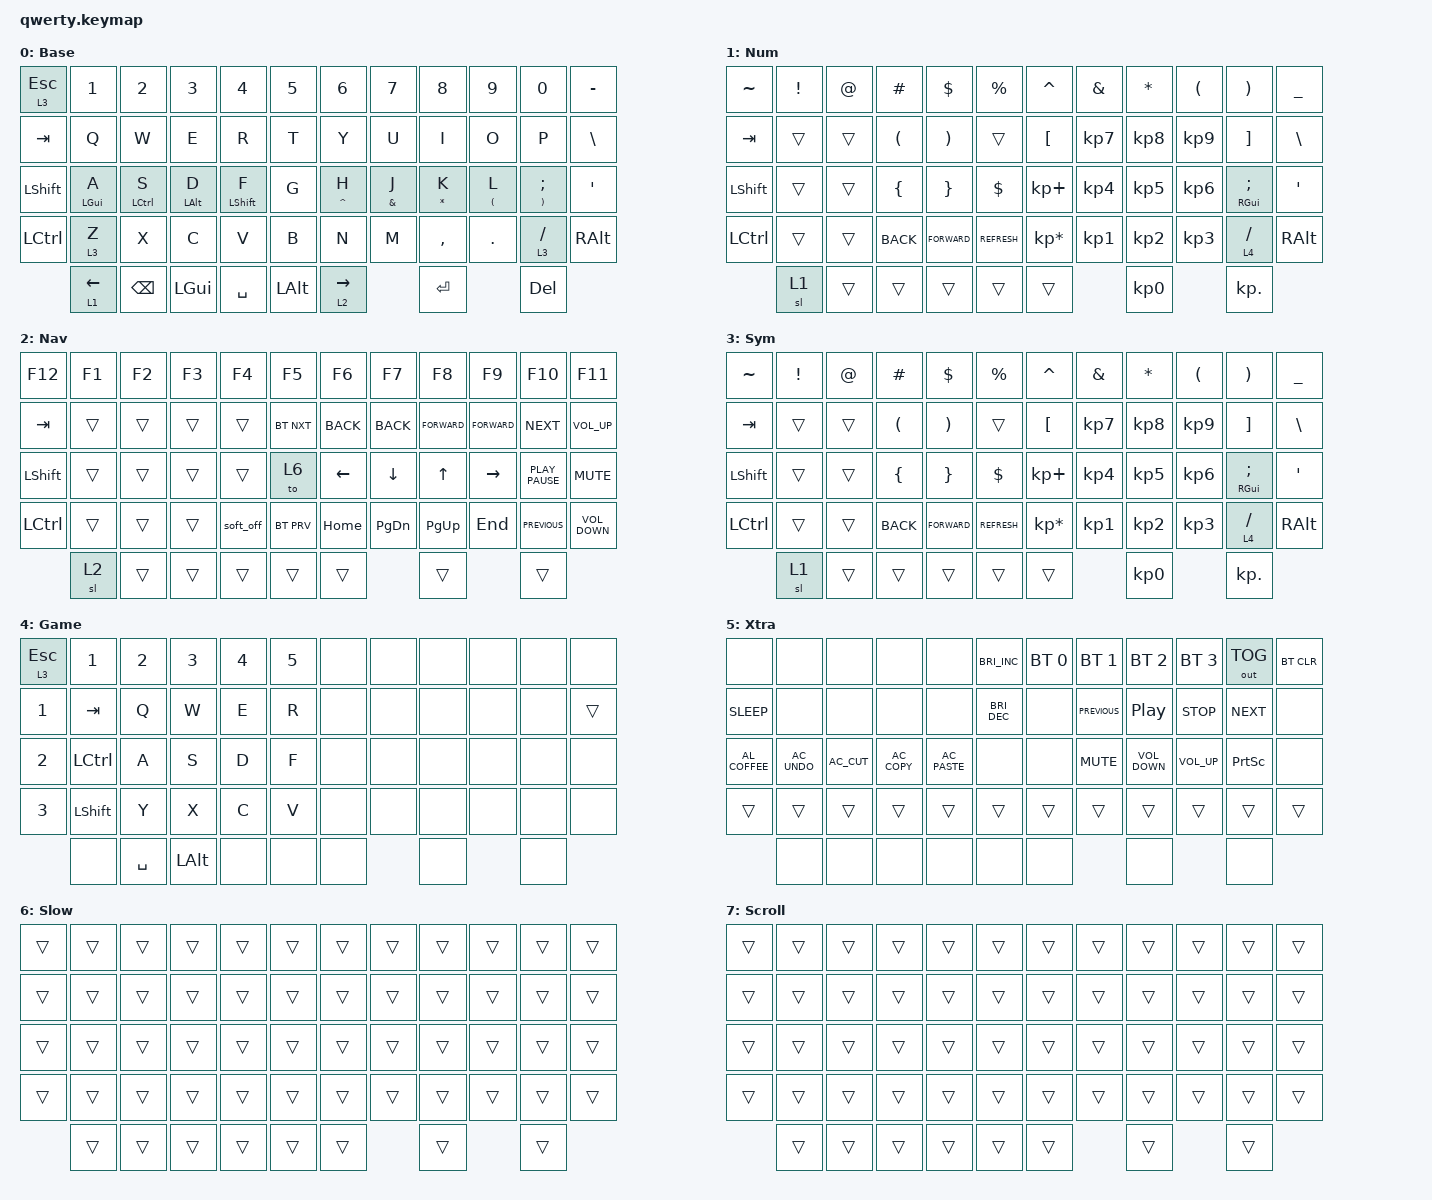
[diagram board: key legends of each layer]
/* upstream bindings and behaviors */
#include <behaviors.dtsi>
#include <dt-bindings/zmk/bt.h>
#include <dt-bindings/zmk/keys.h>
#include <dt-bindings/zmk/mouse.h>
#include <dt-bindings/zmk/outputs.h>
#include <behaviors/mouse_keys.dtsi>
#include <dt-bindings/zmk/ext_power.h>


/* local overlays */
#include "behaviors.dtsi"
#include "combos.dtsi"

/ {
/* --- KEYMAP CONFIG --- */
// ╭──────┬──────┬──────┬──────┬──────┬──────╮  ╭──────┬──────┬──────┬──────┬──────┬──────╮
//    00     01     02     03     04     05        06     07     08     09     10     11
// ├──────┼──────┼──────┼──────┼──────┼──────┤  ├──────┼──────┼──────┼──────┼──────┼──────┤
//    12     13     14     15     16     17        18     19     20     21     22     23
// ├──────┼──────┼──────┼──────┼──────┼──────┤  ├──────┼──────┼──────┼──────┼──────┼──────┤
//    24     25     26     27     28     29        30     31     32     33     34     35
// ├──────┼──────┼──────┼──────┼──────┼──────┤  ├──────┼──────┼──────┼──────┼──────┼──────┤
//    36     37     38     39     40     41        42     43     44     45     46     47
// ╰──────┴──────┴──────┼──────┼──────┼──────┤  ├──────┼──────┼──────┴──────┴──────┴──────╯
//           48     49     50     51     52        53     54     55
//        ╰──────┴──────┴──────┴──────┴──────╯  ╰──────┴──────┴──────╯
// #define BASE    0
// #define NUM     1
// #define NAV     2
// #define SYM     3
// #define GAME    4
// #define EXTRAS  5
// #define SLOW    6
// #define SCROLL  7

    keymap {
        compatible = "zmk,keymap";
        BASE {
            display-name = "Base";
            bindings = <
// ╭─────────────┬───────────────┬────────────────┬─────────────────┬─────────────────┬──────╮  ╭──────┬──────────────────┬──────────────────┬─────────────────┬────────────────────────┬─────────────╮
      &lt 3 ESC        &kp N1         &kp N2          &kp N3           &kp N4           &kp N5   &kp N6      &kp N7            &kp N8             &kp N9          &kp N0                 &kp MINUS
// ├─────────────┼───────────────┼────────────────┼─────────────────┼─────────────────┼──────┤  ├──────┼──────────────────┼──────────────────┼─────────────────┼────────────────────────┼─────────────┤
       &kp TAB         &kp Q          &kp W           &kp E            &kp R            &kp T    &kp Y       &kp U             &kp I              &kp O           &kp P                  &kp BACKSLASH
// ├─────────────┼───────────────┼────────────────┼─────────────────┼─────────────────┼──────┤  ├──────┼──────────────────┼──────────────────┼─────────────────┼────────────────────────┼─────────────┤
      &kp LSHFT     &hml LGUI A  &hml LCTRL S  &hml LALT D    &hml LSHFT F     &kp G            &hmr CARET H    &hmr AMPERSAND J   &hmr ASTERISK K     &hmr LEFT_PARENTHESIS L  &hmr RIGHT_PARENTHESIS SEMICOLON  &kp APOS
// ├─────────────┼───────────────┼────────────────┼─────────────────┼─────────────────┼──────┤  ├──────┼──────────────────┼──────────────────┼─────────────────┼────────────────────────┼─────────────┤
      &kp LCTRL       &lt 3 Z        &kp X           &kp C            &kp V            &kp B    &kp N       &kp M             &kp COMMA          &kp DOT         &lt 3 SLASH            &kp RALT
// ╰─────────────┴───────────────┴────────────────┼─────────────────┼─────────────────┼──────┤  ╭──────┼──────────────────┼──────────────────┴─────────────────┴────────────────────────┴─────────────╯
                                                             &lt 1 LEFT      &kp BACKSPACE   &kp LGUI  &kp SPACE  &kp LEFT_ALT  &lt 2 RIGHT  &kp ENTER  &kp DEL
                                                         // ╰──────────────────┴─────────┴──────╯  ╰──────────┴──────────────╯
            >;
        };

        NUM {
            display-name = "Num";
            bindings = <
// ╭───────────────┬────────────────┬────────────────┬─────────────────┬─────────────────┬──────╮  ╭──────┬──────────────────┬──────────────────┬─────────────────┬────────────────────────┬─────────────╮
    &kp TILDE  &kp EXCL  &kp AT  &kp HASH  &kp DOLLAR  &kp PERCENT  &kp CARET  &kp AMPERSAND  &kp ASTERISK  &kp LEFT_PARENTHESIS  &kp RIGHT_PARENTHESIS  &kp UNDERSCORE
// ├───────────────┼────────────────┼────────────────┼─────────────────┼─────────────────┼──────┤  ├──────┼──────────────────┼──────────────────┼─────────────────┼────────────────────────┼─────────────┤
     &kp TAB  &trans  &trans  &kp LEFT_PARENTHESIS  &kp RIGHT_PARENTHESIS  &trans  &kp LEFT_BRACKET  &kp KP_NUMBER_7  &kp KP_NUMBER_8  &kp KP_NUMBER_9  &kp RIGHT_BRACKET  &kp BACKSLASH
// ├───────────────┼────────────────┼────────────────┼─────────────────┼─────────────────┼──────┤  ├──────┼──────────────────┼──────────────────┼─────────────────┼────────────────────────┼─────────────┤
     &kp LSHFT  &trans  &trans  &kp LEFT_BRACE  &kp RIGHT_BRACE  &kp DOLLAR  &kp KP_PLUS  &kp KP_NUMBER_4  &kp KP_NUMBER_5  &kp KP_NUMBER_6  &hml RGUI SEMICOLON  &kp APOS
// ├───────────────┼────────────────┼────────────────┼─────────────────┼─────────────────┼──────┤  ├──────┼──────────────────┼──────────────────┼─────────────────┼────────────────────────┼─────────────┤
     &kp LCTRL  &trans  &trans  &kp K_BACK  &kp K_FORWARD  &kp K_REFRESH  &kp KP_MULTIPLY  &kp KP_NUMBER_1  &kp KP_NUMBER_2  &kp KP_NUMBER_3  &lt 4 SLASH  &kp RALT
// ╰───────────────┴────────────────┴────────────────┼─────────────────┼─────────────────┼──────┤  ├──────┼──────────────────┼──────────────────┴─────────────────┴────────────────────────┴─────────────╯
                                                            &sl 1  &trans  &trans  &trans  &trans  &trans  &kp KP_NUMBER_0  &kp KP_DOT
                                                         // ╰──────────────────┴─────────┴──────╯  ╰──────────┴──────────────╯
            >;
        };

        NAV {
            display-name = "Nav";
            bindings = <
// ╭───────────────┬────────────────┬────────────────┬─────────────────┬─────────────────┬──────╮  ╭──────┬──────────────────┬──────────────────┬─────────────────┬────────────────────────┬─────────────╮
&kp F12    &kp F1           &kp F2           &kp F3           &kp F4     &kp F5        &kp F6      &kp F7            &kp F8             &kp F9         &kp F10           &kp F11
// ├───────────────┼────────────────┼────────────────┼─────────────────┼─────────────────┼──────┤  ├──────┼──────────────────┼──────────────────┼─────────────────┼────────────────────────┼─────────────┤
&kp TAB    &trans           &trans           &trans           &trans     &bt BT_NXT    &kp K_BACK  &kp K_BACK  &kp K_FORWARD  &kp K_FORWARD  &kp K_NEXT        &kp K_VOLUME_UP
// ├───────────────┼────────────────┼────────────────┼─────────────────┼─────────────────┼──────┤  ├──────┼──────────────────┼──────────────────┼─────────────────┼────────────────────────┼─────────────┤
&kp LSHFT  &trans           &trans           &trans           &trans     &to 6         &kp LEFT    &kp DOWN          &kp UP_ARROW       &kp RIGHT      &kp K_PLAY_PAUSE  &kp K_MUTE
// ├───────────────┼────────────────┼────────────────┼─────────────────┼─────────────────┼──────┤  ├──────┼──────────────────┼──────────────────┼─────────────────┼────────────────────────┼─────────────┤
&kp LCTRL  &trans           &trans           &trans           &soft_off  &bt BT_PRV    &kp HOME    &kp PG_DN         &kp PG_UP          &kp END        &kp K_PREVIOUS    &kp K_VOLUME_DOWN
           &sl 2            &trans           &trans           &trans     &trans        &trans                        &trans                            &trans
            >;
        };

        SYM {
            display-name = "Sym";
            bindings = <
// ╭───────────────┬────────────────┬────────────────┬─────────────────┬─────────────────┬──────╮  ╭──────┬──────────────────┬──────────────────┬─────────────────┬────────────────────────┬─────────────╮
    &kp TILDE  &kp EXCL  &kp AT  &kp HASH  &kp DOLLAR  &kp PERCENT  &kp CARET  &kp AMPERSAND  &kp ASTERISK  &kp LEFT_PARENTHESIS  &kp RIGHT_PARENTHESIS  &kp UNDERSCORE
// ├───────────────┼────────────────┼────────────────┼─────────────────┼─────────────────┼──────┤  ├──────┼──────────────────┼──────────────────┼─────────────────┼────────────────────────┼─────────────┤
     &kp TAB  &trans  &trans  &kp LEFT_PARENTHESIS  &kp RIGHT_PARENTHESIS  &trans  &kp LEFT_BRACKET  &kp KP_NUMBER_7  &kp KP_NUMBER_8  &kp KP_NUMBER_9  &kp RIGHT_BRACKET  &kp BACKSLASH
// ├───────────────┼────────────────┼────────────────┼─────────────────┼─────────────────┼──────┤  ├──────┼──────────────────┼──────────────────┼─────────────────┼────────────────────────┼─────────────┤
     &kp LSHFT  &trans  &trans  &kp LEFT_BRACE  &kp RIGHT_BRACE  &kp DOLLAR  &kp KP_PLUS  &kp KP_NUMBER_4  &kp KP_NUMBER_5  &kp KP_NUMBER_6  &hml RGUI SEMICOLON  &kp APOS
// ├───────────────┼────────────────┼────────────────┼─────────────────┼─────────────────┼──────┤  ├──────┼──────────────────┼──────────────────┼─────────────────┼────────────────────────┼─────────────┤
     &kp LCTRL  &trans  &trans  &kp K_BACK  &kp K_FORWARD  &kp K_REFRESH  &kp KP_MULTIPLY  &kp KP_NUMBER_1  &kp KP_NUMBER_2  &kp KP_NUMBER_3  &lt 4 SLASH  &kp RALT
// ╰───────────────┴────────────────┴────────────────┼─────────────────┼─────────────────┼──────┤  ├──────┼──────────────────┼──────────────────┴─────────────────┴────────────────────────┴─────────────╯
                                                            &sl 1  &trans  &trans  &trans  &trans  &trans  &kp KP_NUMBER_0  &kp KP_DOT
                                                         // ╰──────────────────┴─────────┴──────╯  ╰──────────┴──────────────╯
            >;
        };

        GAME {
            display-name = "Game";
            bindings = <
// ╭───────────────┬────────────────┬────────────────┬─────────────────┬─────────────────┬──────╮  ╭──────┬──────────────────┬──────────────────┬─────────────────┬────────────────────────┬─────────────╮
     &lt 3 ESC &kp N1 &kp N2 &kp N3 &kp N4 &kp N5 &none &none &none &none &none &none
// ├───────────────┼────────────────┼────────────────┼─────────────────┼─────────────────┼──────┤  ├──────┼──────────────────┼──────────────────┼─────────────────┼────────────────────────┼─────────────┤
     &kp N1  &kp TAB  &kp Q  &kp W  &kp E  &kp R  &none  &none  &none  &none  &none  &trans
// ├───────────────┼────────────────┼────────────────┼─────────────────┼─────────────────┼──────┤  ├──────┼──────────────────┼──────────────────┼─────────────────┼────────────────────────┼─────────────┤
     &kp N2  &kp LCTRL  &kp A  &kp S  &kp D  &kp F  &none  &none  &none  &none  &none  &none
// ├───────────────┼────────────────┼────────────────┼─────────────────┼─────────────────┼──────┤  ├──────┼──────────────────┼──────────────────┼─────────────────┼────────────────────────┼─────────────┤
     &kp N3  &kp LSHFT  &kp Y  &kp X  &kp C  &kp V  &none  &none  &none  &none  &none  &none
// ╰───────────────┴────────────────┴────────────────┼─────────────────┼─────────────────┼──────┤  ├──────┼──────────────────┼──────────────────┴─────────────────┴────────────────────────┴─────────────╯
                                                            &none  &kp SPACE  &kp LEFT_ALT  &none  &none  &none  &none  &none
                                                         // ╰──────────────────┴─────────┴──────╯  ╰──────────┴──────────────╯
            >;
        };

        EXTRAS {
            display-name = "Xtra";
            bindings = <
// ╭───────────────┬────────────────┬────────────────┬─────────────────┬─────────────────┬──────╮  ╭──────┬──────────────────┬──────────────────┬─────────────────┬────────────────────────┬─────────────╮
    &none  &none  &none  &none  &none  &kp C_BRIGHTNESS_INC  &bt BT_SEL 0  &bt BT_SEL 1  &bt BT_SEL 2  &bt BT_SEL 3  &out OUT_TOG  &bt BT_CLR
// ├───────────────┼────────────────┼────────────────┼─────────────────┼─────────────────┼──────┤  ├──────┼──────────────────┼──────────────────┼─────────────────┼────────────────────────┼─────────────┤
    &kp C_SLEEP  &none  &none  &none  &none  &kp C_BRIGHTNESS_DEC  &none  &kp C_PREVIOUS  &kp C_PLAY_PAUSE  &kp C_STOP  &kp C_NEXT  &none
// ├───────────────┼────────────────┼────────────────┼─────────────────┼─────────────────┼──────┤  ├──────┼──────────────────┼──────────────────┼─────────────────┼────────────────────────┼─────────────┤
    &kp C_AL_COFFEE  &kp C_AC_UNDO  &kp C_AC_CUT  &kp C_AC_COPY  &kp C_AC_PASTE  &none  &none  &kp K_MUTE  &kp C_VOLUME_DOWN  &kp C_VOLUME_UP  &kp PRINTSCREEN  &none
// ├───────────────┼────────────────┼────────────────┼─────────────────┼─────────────────┼──────┤  ├──────┼──────────────────┼──────────────────┼─────────────────┼────────────────────────┼─────────────┤
    &trans  &trans  &trans  &trans  &trans  &trans  &trans  &trans  &trans  &trans  &trans  &trans
// ╰───────────────┴────────────────┴────────────────┼─────────────────┼─────────────────┼──────┤  ├──────┼──────────────────┼──────────────────┴─────────────────┴────────────────────────┴─────────────╯
                                                            &none  &none  &none  &none  &none  &none  &none  &none
                                                         // ╰──────────────────┴─────────┴──────╯  ╰──────────┴──────────────╯
            >;
        };

        SLOW {
            display-name = "Slow";
            bindings = <
// ╭───────────────┬────────────────┬────────────────┬─────────────────┬─────────────────┬──────╮  ╭──────┬──────────────────┬──────────────────┬─────────────────┬────────────────────────┬─────────────╮
    &trans  &trans  &trans  &trans  &trans  &trans  &trans  &trans  &trans  &trans  &trans  &trans
// ├───────────────┼────────────────┼────────────────┼─────────────────┼─────────────────┼──────┤  ├──────┼──────────────────┼──────────────────┼─────────────────┼────────────────────────┼─────────────┤
    &trans  &trans  &trans  &trans  &trans  &trans  &trans  &trans  &trans  &trans  &trans  &trans
// ├───────────────┼────────────────┼────────────────┼─────────────────┼─────────────────┼──────┤  ├──────┼──────────────────┼──────────────────┼─────────────────┼────────────────────────┼─────────────┤
    &trans  &trans  &trans  &trans  &trans  &trans  &trans  &trans  &trans  &trans  &trans  &trans
// ├───────────────┼────────────────┼────────────────┼─────────────────┼─────────────────┼──────┤  ├──────┼──────────────────┼──────────────────┼─────────────────┼────────────────────────┼─────────────┤
    &trans  &trans  &trans  &trans  &trans  &trans  &trans  &trans  &trans  &trans  &trans  &trans
// ╰───────────────┴────────────────┴────────────────┼─────────────────┼─────────────────┼──────┤  ├──────┼──────────────────┼──────────────────┴─────────────────┴────────────────────────┴─────────────╯
                                                            &trans  &trans  &trans  &trans  &trans  &trans  &trans  &trans
                                                         // ╰──────────────────┴─────────┴──────╯  ╰──────────┴──────────────╯
            >;
        };

        SCROLL {
            display-name = "Scroll";
            bindings = <
// ╭───────────────┬────────────────┬────────────────┬─────────────────┬─────────────────┬──────╮  ╭──────┬──────────────────┬──────────────────┬─────────────────┬────────────────────────┬─────────────╮
    &trans  &trans  &trans  &trans  &trans  &trans  &trans  &trans  &trans  &trans  &trans  &trans
// ├───────────────┼────────────────┼────────────────┼─────────────────┼─────────────────┼──────┤  ├──────┼──────────────────┼──────────────────┼─────────────────┼────────────────────────┼─────────────┤
    &trans  &trans  &trans  &trans  &trans  &trans  &trans  &trans  &trans  &trans  &trans  &trans
// ├───────────────┼────────────────┼────────────────┼─────────────────┼─────────────────┼──────┤  ├──────┼──────────────────┼──────────────────┼─────────────────┼────────────────────────┼─────────────┤
    &trans  &trans  &trans  &trans  &trans  &trans  &trans  &trans  &trans  &trans  &trans  &trans
// ├───────────────┼────────────────┼────────────────┼─────────────────┼─────────────────┼──────┤  ├──────┼──────────────────┼──────────────────┼─────────────────┼────────────────────────┼─────────────┤
    &trans  &trans  &trans  &trans  &trans  &trans  &trans  &trans  &trans  &trans  &trans  &trans
// ╰───────────────┴────────────────┴────────────────┼─────────────────┼─────────────────┼──────┤  ├──────┼──────────────────┼──────────────────┴─────────────────┴────────────────────────┴─────────────╯
                                                            &trans  &trans  &trans  &trans  &trans  &trans  &trans  &trans
                                                         // ╰──────────────────┴─────────┴──────╯  ╰──────────┴──────────────╯
            >;
        };
    };
};
